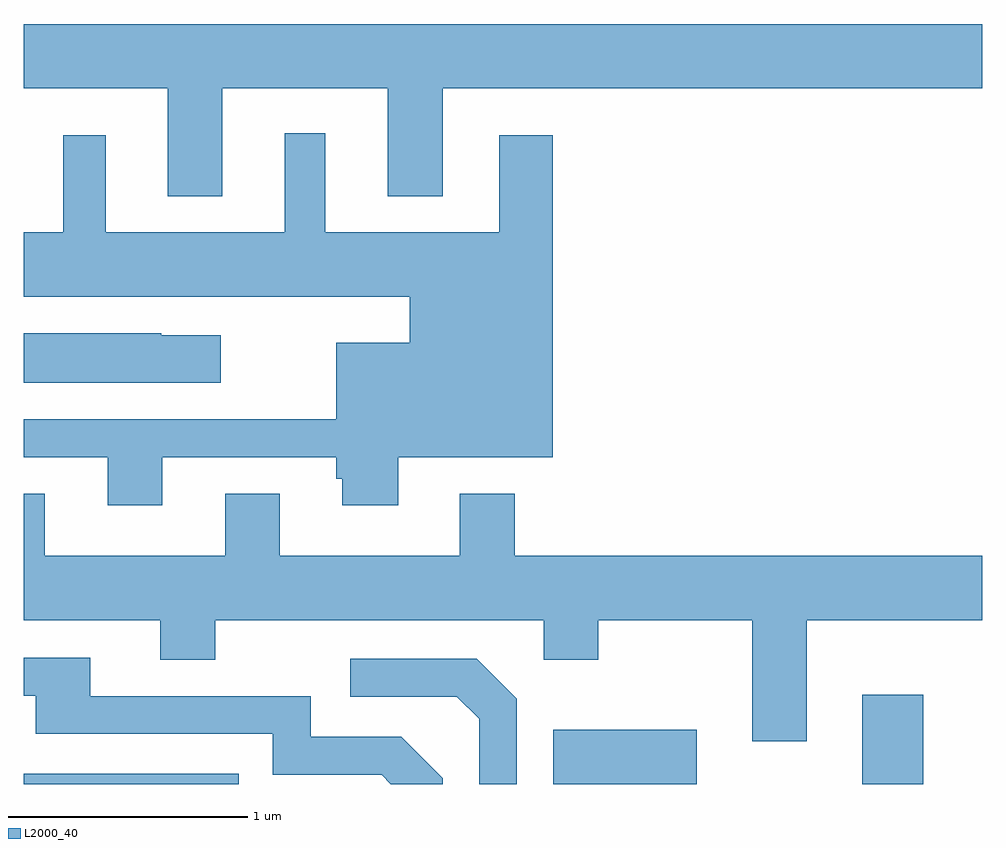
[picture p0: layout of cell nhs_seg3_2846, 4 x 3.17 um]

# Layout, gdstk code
import gdstk
lib = gdstk.Library(unit=1e-6, precision=1e-09)
def R(c, l, rs):  # rectangles x0, y0, x1, y1
    for r in rs: c.add(gdstk.rectangle(r[:2], r[2:], *l))
def P(c, l, *ps):  # polygons
    for p in ps: c.add(gdstk.Polygon(p, *l))
L2000_40 = (2000, 40)

nhs_seg3_2846 = lib.new_cell('nhs_seg3_2846')
R(nhs_seg3_2846, L2000_40, [(267.611,1231.892,268.508,1231.934), (269.821,1231.892,270.419,1232.119), (271.111,1231.892,271.364,1232.264)])
P(nhs_seg3_2846, L2000_40, [(268.439,1234.796),(269.131,1234.796),(269.131,1234.346),(269.359,1234.346),(269.359,1234.796),(271.611,1234.796),(271.611,1235.064),(267.611,1235.064),(267.611,1234.796),(268.211,1234.796),(268.211,1234.346),(268.439,1234.346)],
  [(268.189,1233.256),(268.916,1233.256),(268.916,1233.166),(268.941,1233.166),(268.941,1233.056),(269.174,1233.056),(269.174,1233.256),(269.819,1233.256),(269.819,1234.599),(269.596,1234.599),(269.596,1234.194),(268.869,1234.194),(268.869,1234.608),(268.701,1234.608),(268.701,1234.194),(267.954,1234.194),(267.954,1234.599),(267.776,1234.599),(267.776,1234.194),(267.611,1234.194),(267.611,1233.926),(269.221,1233.926),(269.221,1233.734),(268.916,1233.734),(268.916,1233.414),(267.611,1233.414),(267.611,1233.256),(267.961,1233.256),(267.961,1233.056),(268.189,1233.056)],
  [(268.434,1233.764),(268.185,1233.764),(268.185,1233.774),(267.611,1233.774),(267.611,1233.566),(268.434,1233.566)],
  [(270.879,1232.576),(271.611,1232.576),(271.611,1232.844),(269.659,1232.844),(269.659,1233.104),(269.431,1233.104),(269.431,1232.844),(268.679,1232.844),(268.679,1233.104),(268.451,1233.104),(268.451,1232.844),(267.699,1232.844),(267.699,1233.104),(267.611,1233.104),(267.611,1232.576),(268.181,1232.576),(268.181,1232.411),(268.409,1232.411),(268.409,1232.576),(269.781,1232.576),(269.781,1232.411),(270.009,1232.411),(270.009,1232.576),(270.651,1232.576),(270.651,1232.071),(270.879,1232.071)],
  [(269.359,1231.917),(269.187,1232.089),(268.809,1232.089),(268.809,1232.259),(267.889,1232.259),(267.889,1232.419),(267.611,1232.419),(267.611,1232.261),(267.661,1232.261),(267.661,1232.101),(268.651,1232.101),(268.651,1231.931),(269.104,1231.931),(269.143,1231.892),(269.359,1231.892)],
  [(269.669,1232.247),(269.502,1232.414),(268.973,1232.414),(268.973,1232.256),(269.419,1232.256),(269.511,1232.164),(269.511,1231.892),(269.669,1231.892)])

lib.write_gds('nhs_seg3_2846.gds')
